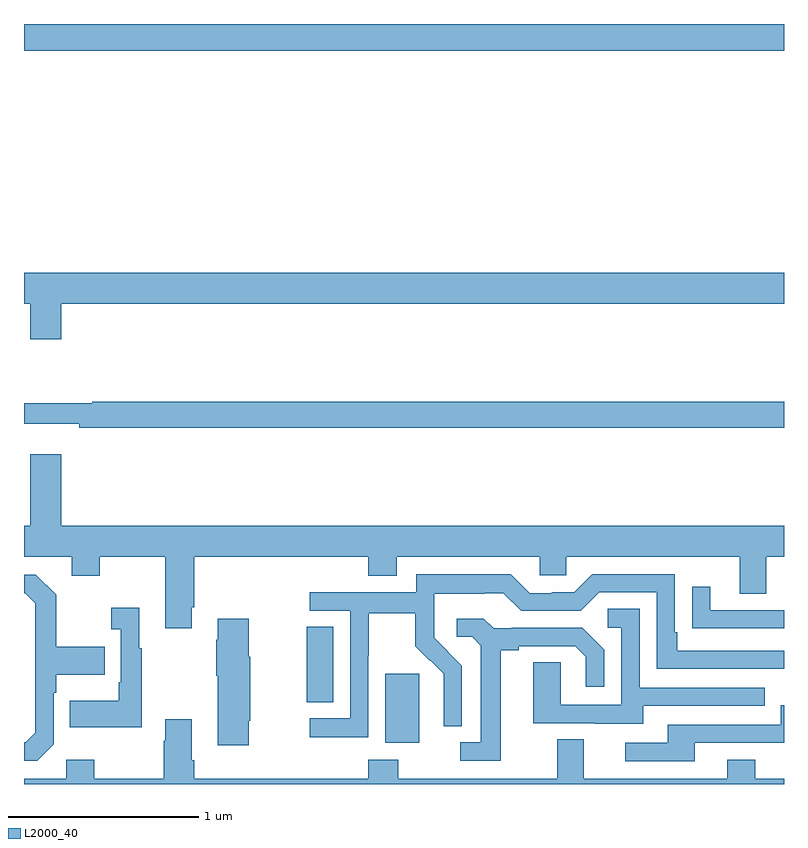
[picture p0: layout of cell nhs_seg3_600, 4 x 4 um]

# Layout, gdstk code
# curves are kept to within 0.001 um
import gdstk
lib = gdstk.Library(unit=1e-6, precision=1e-09)
def R(c, l, rs):  # rectangles x0, y0, x1, y1
    for r in rs: c.add(gdstk.rectangle(r[:2], r[2:], *l))
def P(c, l, *ps):  # polygons
    for p in ps: c.add(gdstk.Polygon(p, *l))
L2000_40 = (2000, 40)

nhs_seg3_600 = lib.new_cell('nhs_seg3_600')
R(nhs_seg3_600, L2000_40, [(142.901,686.618,143.08,686.979), (142.489,686.83,142.627,687.227), (141,690.26,145,690.4)])
P(nhs_seg3_600, L2000_40, [(141.196,688.928),(145,688.928),(145,689.092),(141,689.092),(141,688.928),(141.032,688.928),(141.032,688.74),(141.196,688.74)],
  [(145,688.412),(141.358,688.412),(141.358,688.405),(141,688.405),(141,688.295),(141.292,688.295),(141.292,688.276),(145,688.276)],
  [(141.883,687.331),(141.896,687.331),(141.896,687.596),(142.811,687.596),(142.811,687.497),(142.963,687.497),(142.963,687.596),(143.715,687.596),(143.715,687.498),(143.853,687.498),(143.853,687.596),(144.767,687.596),(144.767,687.402),(144.907,687.402),(144.907,687.596),(145,687.596),(145,687.76),(141.196,687.76),(141.196,688.135),(141.032,688.135),(141.032,687.76),(141,687.76),(141,687.596),(141.251,687.596),(141.251,687.497),(141.399,687.497),(141.399,687.596),(141.743,687.596),(141.743,687.219),(141.883,687.219)],
  [(142.812,687.076),(142.815,687.076),(142.815,687.3),(143.059,687.3),(143.059,687.125),(143.136,687.048),(143.139,687.051),(143.21,686.981),(143.21,686.858),(143.208,686.858),(143.208,686.704),(143.304,686.704),(143.304,687.022),(143.158,687.17),(143.158,687.267),(143.16,687.267),(143.16,687.401),(143.423,687.401),(143.423,687.405),(143.523,687.405),(143.616,687.312),(143.931,687.312),(144.027,687.408),(144.33,687.408),(144.33,687.006),(145,687.006),(145,687.102),(144.439,687.102),(144.439,687.199),(144.426,687.199),(144.426,687.504),(143.991,687.504),(143.895,687.408),(143.777,687.408),(143.777,687.405),(143.661,687.405),(143.561,687.505),(143.064,687.505),(143.064,687.408),(142.503,687.408),(142.503,687.312),(142.716,687.312),(142.716,686.745),(142.503,686.745),(142.503,686.647),(142.812,686.647)],
  [(141.156,686.61),(141.156,686.879),(141.169,686.879),(141.169,686.975),(141.425,686.975),(141.425,687.123),(141.169,687.123),(141.169,687.395),(141.063,687.501),(141,687.501),(141,687.405),(141.006,687.405),(141.06,687.351),(141.06,686.67),(141.009,686.619),(141,686.619),(141,686.523),(141.069,686.523)],
  [(145,687.315),(144.613,687.315),(144.613,687.439),(144.517,687.439),(144.517,687.22),(144.619,687.22),(144.619,687.219),(145,687.219)],
  [(141.619,687.115),(141.607,687.115),(141.607,687.328),(141.459,687.328),(141.459,687.215),(141.51,687.215),(141.51,686.935),(141.498,686.935),(141.498,686.839),(141.241,686.839),(141.241,686.699),(141.619,686.699)],
  [(144.259,686.811),(144.899,686.811),(144.899,686.907),(144.24,686.907),(144.24,687.323),(144.072,687.323),(144.072,687.222),(144.144,687.222),(144.144,686.817),(143.826,686.817),(143.826,687.041),(143.681,687.041),(143.681,686.721),(144.005,686.721),(144.005,686.717),(144.259,686.717)],
  [(143.509,687.104),(143.605,687.104),(143.605,687.126),(143.9,687.126),(143.957,687.069),(143.957,686.913),(144.054,686.913),(144.054,687.106),(143.938,687.222),(143.566,687.222),(143.566,687.219),(143.472,687.219),(143.42,687.271),(143.277,687.271),(143.277,687.174),(143.358,687.174),(143.405,687.127),(143.405,686.619),(143.295,686.619),(143.295,686.523),(143.509,686.523)],
  [(142.182,686.733),(142.192,686.733),(142.192,687.069),(142.182,687.069),(142.182,687.271),(142.019,687.271),(142.019,687.158),(142.012,687.158),(142.012,686.969),(142.019,686.969),(142.019,686.604),(142.182,686.604)],
  [(144.529,686.616),(145,686.616),(145,686.815),(144.984,686.815),(144.984,686.712),(144.389,686.712),(144.389,686.616),(144.165,686.616),(144.165,686.52),(144.529,686.52)],
  [(145,686.428),(144.849,686.428),(144.849,686.527),(144.701,686.527),(144.701,686.428),(143.947,686.428),(143.947,686.636),(143.807,686.636),(143.807,686.428),(142.971,686.428),(142.971,686.527),(142.811,686.527),(142.811,686.428),(141.896,686.428),(141.896,686.524),(141.883,686.524),(141.883,686.74),(141.743,686.74),(141.743,686.627),(141.736,686.627),(141.736,686.428),(141.369,686.428),(141.369,686.527),(141.222,686.527),(141.222,686.428),(141,686.428),(141,686.4),(145,686.4)])

lib.write_gds('nhs_seg3_600.gds')
